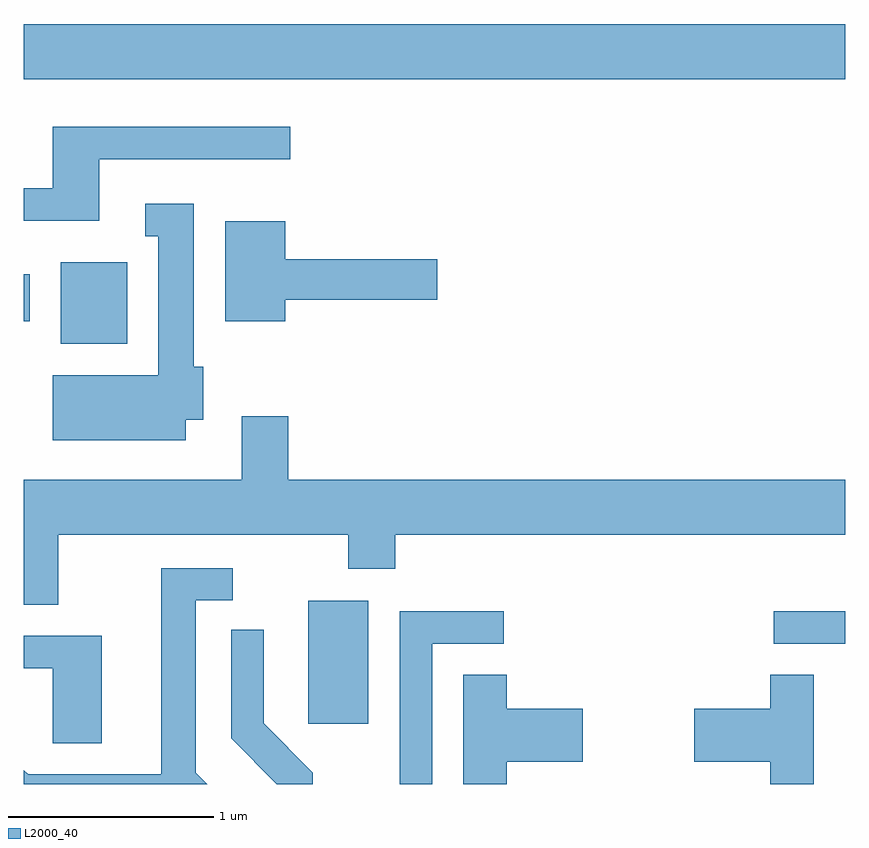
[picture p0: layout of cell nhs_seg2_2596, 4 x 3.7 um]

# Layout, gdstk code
import gdstk
lib = gdstk.Library(unit=1e-6, precision=1e-09)
def R(c, l, rs):  # rectangles x0, y0, x1, y1
    for r in rs: c.add(gdstk.rectangle(r[:2], r[2:], *l))
def P(c, l, *ps):  # polygons
    for p in ps: c.add(gdstk.Polygon(p, *l))
L2000_40 = (2000, 40)

nhs_seg2_2596 = lib.new_cell('nhs_seg2_2596')
R(nhs_seg2_2596, L2000_40, [(262.996,1014.096,263.289,1014.694), (265.263,1014.486,265.611,1014.644), (261.791,1015.946,262.114,1016.344), (261.611,1016.056,261.639,1016.284), (261.611,1017.236,265.611,1017.504)])
P(nhs_seg2_2596, L2000_40, [(261.979,1016.846),(262.908,1016.846),(262.908,1017.004),(261.751,1017.004),(261.751,1016.704),(261.611,1016.704),(261.611,1016.546),(261.979,1016.546)],
  [(262.399,1015.576),(262.484,1015.576),(262.484,1015.834),(262.439,1015.834),(262.439,1016.629),(262.203,1016.629),(262.203,1016.471),(262.266,1016.471),(262.266,1015.794),(261.751,1015.794),(261.751,1015.476),(262.399,1015.476)],
  [(262.884,1016.161),(263.624,1016.161),(263.624,1016.359),(262.884,1016.359),(262.884,1016.544),(262.591,1016.544),(262.591,1016.056),(262.884,1016.056)],
  [(261.779,1015.016),(263.191,1015.016),(263.191,1014.851),(263.419,1014.851),(263.419,1015.016),(265.611,1015.016),(265.611,1015.284),(262.899,1015.284),(262.899,1015.594),(262.671,1015.594),(262.671,1015.284),(261.611,1015.284),(261.611,1014.676),(261.779,1014.676)],
  [(262.449,1013.857),(262.449,1014.696),(262.628,1014.696),(262.628,1014.854),(262.281,1014.854),(262.281,1013.849),(261.632,1013.849),(261.611,1013.87),(261.611,1013.802),(262.504,1013.802)],
  [(263.599,1014.486),(263.948,1014.486),(263.948,1014.644),(263.441,1014.644),(263.441,1013.802),(263.599,1013.802)],
  [(263.019,1013.857),(262.779,1014.097),(262.779,1014.553),(262.621,1014.553),(262.621,1014.024),(262.843,1013.802),(263.019,1013.802)],
  [(261.989,1014.524),(261.611,1014.524),(261.611,1014.366),(261.751,1014.366),(261.751,1014.001),(261.989,1014.001)],
  [(263.964,1013.911),(264.334,1013.911),(264.334,1014.169),(263.964,1014.169),(263.964,1014.334),(263.751,1014.334),(263.751,1013.802),(263.964,1013.802)],
  [(265.459,1014.334),(265.246,1014.334),(265.246,1014.169),(264.876,1014.169),(264.876,1013.911),(265.246,1013.911),(265.246,1013.802),(265.459,1013.802)])

lib.write_gds('nhs_seg2_2596.gds')
